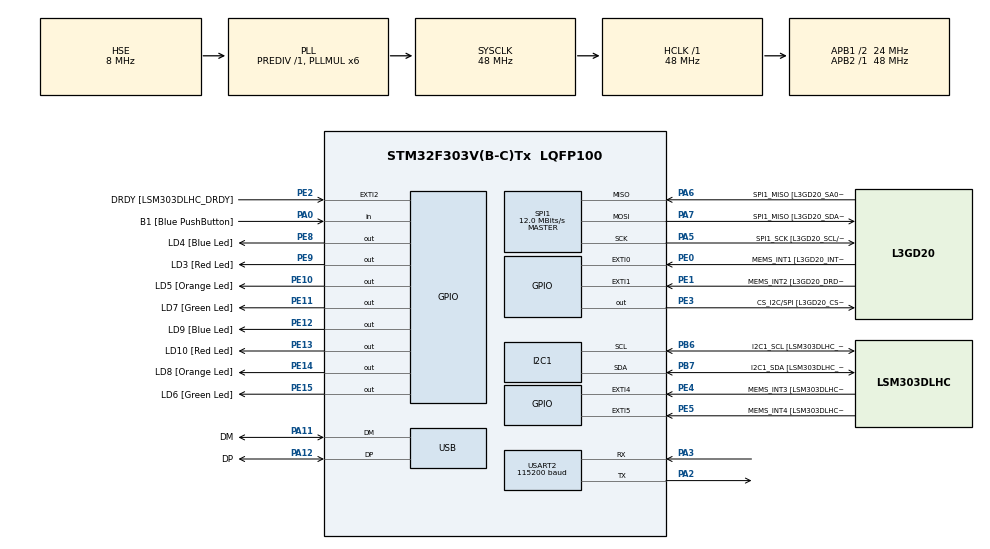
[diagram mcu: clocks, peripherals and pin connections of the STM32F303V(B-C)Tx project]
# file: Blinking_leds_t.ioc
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I2C1.Timing=0x2000090E
I2C1.Timing-I2C=0x2000090E
Mcu.Family=STM32F3
Mcu.Name=STM32F303V(B-C)Tx
Mcu.Package=LQFP100
NVIC.PriorityGroup=NVIC_PRIORITYGROUP_0
NVIC.USART2_IRQn=true\:0\:0\:false\:false\:true\:true\:true\:true
PA0.GPIO_Label=B1 [Blue PushButton]
PA0.Signal=GPIO_Input
PA11.GPIO_Label=DM
PA11.Mode=Device
PA11.Signal=USB_DM
PA12.GPIO_Label=DP
PA12.Mode=Device
PA12.Signal=USB_DP
PA13.GPIO_Label=SWDIO
PA13.Mode=Serial_Wire
PA13.Signal=SYS_JTMS-SWDIO
PA14.GPIO_Label=SWCLK
PA14.Mode=Serial_Wire
PA14.Signal=SYS_JTCK-SWCLK
PA2.Mode=Asynchronous
PA2.Signal=USART2_TX
PA3.Mode=Asynchronous
PA3.Signal=USART2_RX
PA5.GPIO_Label=SPI1_SCK [L3GD20_SCL/SPC]
PA5.Mode=Full_Duplex_Master
PA5.Signal=SPI1_SCK
PA6.GPIO_Label=SPI1_MISO [L3GD20_SA0/SDO]
PA6.Mode=Full_Duplex_Master
PA6.Signal=SPI1_MISO
PA7.GPIO_Label=SPI1_MISO [L3GD20_SDA/SDI/SDO]
PA7.Mode=Full_Duplex_Master
PA7.Signal=SPI1_MOSI
PB3.GPIO_Label=SWO
PB3.Signal=SYS_JTDO-TRACESWO
PB6.GPIO_Label=I2C1_SCL [LSM303DLHC_SCL]
PB6.GPIO_Pu=GPIO_PULLUP
PB6.Mode=I2C
PB6.Signal=I2C1_SCL
PB7.GPIO_Label=I2C1_SDA [LSM303DLHC_SDA]
PB7.GPIO_Pu=GPIO_PULLUP
PB7.Mode=I2C
PB7.Signal=I2C1_SDA
PC14-OSC32_IN.GPIO_Label=OSC32_IN
PC14-OSC32_IN.Signal=RCC_OSC32_IN
PC15-OSC32_OUT.GPIO_Label=OSC32_OUT
PC15-OSC32_OUT.Signal=RCC_OSC32_OUT
PE0.GPIO_Label=MEMS_INT1 [L3GD20_INT1]
PE0.GPIO_ModeDefaultEXTI=GPIO_MODE_EVT_RISING
PE0.Signal=GPXTI0
PE1.GPIO_Label=MEMS_INT2 [L3GD20_DRDY/INT2]
PE1.GPIO_ModeDefaultEXTI=GPIO_MODE_EVT_RISING
PE1.Signal=GPXTI1
PE10.GPIO_Label=LD5 [Orange Led]
PE10.Signal=GPIO_Output
PE11.GPIO_Label=LD7 [Green Led]
PE11.Signal=GPIO_Output
PE12.GPIO_Label=LD9 [Blue Led]
PE12.Signal=GPIO_Output
PE13.GPIO_Label=LD10 [Red Led]
PE13.Signal=GPIO_Output
PE14.GPIO_Label=LD8 [Orange Led]
PE14.Signal=GPIO_Output
PE15.GPIO_Label=LD6 [Green Led]
PE15.Signal=GPIO_Output
PE2.GPIO_Label=DRDY [LSM303DLHC_DRDY]
PE2.GPIO_ModeDefaultEXTI=GPIO_MODE_EVT_RISING
PE2.Signal=GPXTI2
PE3.GPIO_Label=CS_I2C/SPI [L3GD20_CS_I2C/SPI]
PE3.Signal=GPIO_Output
PE4.GPIO_Label=MEMS_INT3 [LSM303DLHC_INT1]
PE4.GPIO_ModeDefaultEXTI=GPIO_MODE_EVT_RISING
PE4.Signal=GPXTI4
PE5.GPIO_Label=MEMS_INT4 [LSM303DLHC_INT2]
PE5.GPIO_ModeDefaultEXTI=GPIO_MODE_EVT_RISING
PE5.Signal=GPXTI5
PE8.GPIO_Label=LD4 [Blue Led]
PE8.Signal=GPIO_Output
PE9.GPIO_Label=LD3 [Red Led]
PE9.Signal=GPIO_Output
PF0-OSC_IN.GPIO_Label=OSC_IN
PF0-OSC_IN.Mode=HSE-External-Clock-Source
PF0-OSC_IN.Signal=RCC_OSC_IN
PF1-OSC_OUT.GPIO_Label=OSC_OUT
PF1-OSC_OUT.Signal=RCC_OSC_OUT
ProjectManager.HeapSize=0x200
ProjectManager.StackSize=0x400
ProjectManager.TargetToolchain=STM32CubeIDE
RCC.AHBFreq_Value=48000000
RCC.APB1CLKDivider=RCC_HCLK_DIV2
RCC.APB1Freq_Value=24000000
RCC.APB1TimFreq_Value=48000000
RCC.APB2Freq_Value=48000000
RCC.APB2TimFreq_Value=48000000
RCC.CortexFreq_Value=48000000
RCC.HCLKFreq_Value=48000000
RCC.HSE_VALUE=8000000
RCC.HSI_VALUE=8000000
RCC.LSE_VALUE=32768
RCC.PLLMUL=RCC_PLL_MUL6
RCC.SYSCLKFreq_VALUE=48000000
RCC.SYSCLKSourceVirtual=RCC_SYSCLKSOURCE_PLLCLK
RCC.USBFreq_Value=48000000
SPI1.BaudRatePrescaler=SPI_BAUDRATEPRESCALER_4
SPI1.BaudRatePrescaler-Full_Duplex_Master=SPI_BAUDRATEPRESCALER_2
SPI1.CalculateBaudRate=12.0 MBits/s
SPI1.CalculateBaudRate-Full_Duplex_Master=24.0 MBits/s
SPI1.Direction=SPI_DIRECTION_2LINES
SPI1.Mode=SPI_MODE_MASTER
SPI1.Mode-Full_Duplex_Master=SPI_MODE_MASTER
SPI1.VirtualType=VM_MASTER
USART2.BaudRate=115200
USART2.VirtualMode-Asynchronous=VM_ASYNC
board=STM32F3DISCOVERY

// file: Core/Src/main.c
/* USER CODE BEGIN Header */
/**
  ******************************************************************************
  * @file           : main.c
  * @brief          : Main program body
  ******************************************************************************
  * @attention
  *
  * Copyright (c) 2025 STMicroelectronics.
  * All rights reserved.
  *
  * This software is licensed under terms that can be found in the LICENSE file
  * in the root directory of this software component.
  * If no LICENSE file comes with this software, it is provided AS-IS.
  *
  ******************************************************************************
  */
/* USER CODE END Header */
#include "main.h"

#include <string.h>

I2C_HandleTypeDef hi2c1;

SPI_HandleTypeDef hspi1;

UART_HandleTypeDef huart2;

PCD_HandleTypeDef hpcd_USB_FS;

void SystemClock_Config(void);
static void MX_GPIO_Init(void);
static void MX_I2C1_Init(void);
static void MX_SPI1_Init(void);
static void MX_USB_PCD_Init(void);
static void MX_USART2_UART_Init(void);

/* USER CODE BEGIN 0 */

static const uint16_t LED_PINS[8] = {

		  GPIO_PIN_9, // LD3 red
		  GPIO_PIN_10, // LD5 orange
		  GPIO_PIN_11, // LD7 green
		  GPIO_PIN_12, // LD9 blue
		  GPIO_PIN_13, // LD10 red
		  GPIO_PIN_14, // LD8 orange
		  GPIO_PIN_15, // LD6 green
		  GPIO_PIN_8, // LD4 blue
};

void debug_print(const char* s){
	HAL_UART_Transmit(&huart2, (uint8_t*)s, strlen(s), HAL_MAX_DELAY);
}

void debug_println(const char* s){
	debug_print(s);
	debug_print("\r\n");
}

static void uart2_println(const char* s){
	HAL_UART_Transmit(&huart2, (uint8_t*)s, strlen(s), HAL_MAX_DELAY);
	uint8_t nl[2] = {'\r', '\n'};
	HAL_UART_Transmit(&huart2, nl, 2, HAL_MAX_DELAY);
}

/* USER CODE END 0 */

/**
  * Simple UART command demo
  *
  * - Uses USART (PA2/PA3) to receive / transmit bytes from / to ESP32
  * - When it receives '1', it toggles an on-board LED
  * - Sends debug messages
  *
  */
int main(void)
{

  /* MCU Configuration--------------------------------------------------------*/

  /* Reset of all peripherals, Initializes the Flash interface and the Systick. */
  HAL_Init();

  /* Configure the system clock */
  SystemClock_Config();

  /* Initialize all configured peripherals */
  MX_GPIO_Init();
  MX_I2C1_Init();
  MX_SPI1_Init();
  MX_USB_PCD_Init();
  MX_USART2_UART_Init();

  HAL_Delay(5000);

  debug_println("STM32 started");
  debug_println("Waiting for UART commands on UART2 ...");

  uint8_t rx;

  /* Infinite loop */
  while (1)
  {
	  // get one byte over usart2 from esp32
	  // wait up to 10 ms for 1 byte on USART2
	  if(HAL_UART_Receive(&huart2, &rx, 1, 10) == HAL_OK){
		  if(rx == '1'){
			  HAL_GPIO_TogglePin(GPIOE, LED_PINS[3]);
			  debug_println("Got '1' -> LED toggled");
			  uart2_println("STM32: LED toggled");
//			  const char msg[] = "STM32: LED toggled\r\n";
//			  HAL_UART_Transmit(&huart2, (uint8_t*)msg, sizeof(msg) - 1, HAL_MAX_DELAY);
//
		  }
		  else {
			  debug_print("Got byte: ");
			  debug_print(rx);
			  debug_println("");

		  }
	  }
  }

}

void SystemClock_Config(void)
{
  RCC_OscInitTypeDef RCC_OscInitStruct = {0};
  RCC_ClkInitTypeDef RCC_ClkInitStruct = {0};
  RCC_PeriphCLKInitTypeDef PeriphClkInit = {0};

  /** Initializes the RCC Oscillators according to the specified parameters
  * in the RCC_OscInitTypeDef structure.
  */
  RCC_OscInitStruct.OscillatorType = RCC_OSCILLATORTYPE_HSI|RCC_OSCILLATORTYPE_HSE;
  RCC_OscInitStruct.HSEState = RCC_HSE_BYPASS;
  RCC_OscInitStruct.HSEPredivValue = RCC_HSE_PREDIV_DIV1;
  RCC_OscInitStruct.HSIState = RCC_HSI_ON;
  RCC_OscInitStruct.HSICalibrationValue = RCC_HSICALIBRATION_DEFAULT;
  RCC_OscInitStruct.PLL.PLLState = RCC_PLL_ON;
  RCC_OscInitStruct.PLL.PLLSource = RCC_PLLSOURCE_HSE;
  RCC_OscInitStruct.PLL.PLLMUL = RCC_PLL_MUL6;
  if (HAL_RCC_OscConfig(&RCC_OscInitStruct) != HAL_OK)
  {
    Error_Handler();
  }

  /** Initializes the CPU, AHB and APB buses clocks
  */
  RCC_ClkInitStruct.ClockType = RCC_CLOCKTYPE_HCLK|RCC_CLOCKTYPE_SYSCLK
                              |RCC_CLOCKTYPE_PCLK1|RCC_CLOCKTYPE_PCLK2;
  RCC_ClkInitStruct.SYSCLKSource = RCC_SYSCLKSOURCE_PLLCLK;
  RCC_ClkInitStruct.AHBCLKDivider = RCC_SYSCLK_DIV1;
  RCC_ClkInitStruct.APB1CLKDivider = RCC_HCLK_DIV2;
  RCC_ClkInitStruct.APB2CLKDivider = RCC_HCLK_DIV1;

  if (HAL_RCC_ClockConfig(&RCC_ClkInitStruct, FLASH_LATENCY_1) != HAL_OK)
  {
    Error_Handler();
  }
  PeriphClkInit.PeriphClockSelection = RCC_PERIPHCLK_USB|RCC_PERIPHCLK_USART2
                              |RCC_PERIPHCLK_I2C1;
  PeriphClkInit.Usart2ClockSelection = RCC_USART2CLKSOURCE_PCLK1;
  PeriphClkInit.I2c1ClockSelection = RCC_I2C1CLKSOURCE_HSI;
  PeriphClkInit.USBClockSelection = RCC_USBCLKSOURCE_PLL;
  if (HAL_RCCEx_PeriphCLKConfig(&PeriphClkInit) != HAL_OK)
  {
    Error_Handler();
  }
}

static void MX_I2C1_Init(void)
{

  hi2c1.Instance = I2C1;
  hi2c1.Init.Timing = 0x2000090E;
  hi2c1.Init.OwnAddress1 = 0;
  hi2c1.Init.AddressingMode = I2C_ADDRESSINGMODE_7BIT;
  hi2c1.Init.DualAddressMode = I2C_DUALADDRESS_DISABLE;
  hi2c1.Init.OwnAddress2 = 0;
  hi2c1.Init.OwnAddress2Masks = I2C_OA2_NOMASK;
  hi2c1.Init.GeneralCallMode = I2C_GENERALCALL_DISABLE;
  hi2c1.Init.NoStretchMode = I2C_NOSTRETCH_DISABLE;
  if (HAL_I2C_Init(&hi2c1) != HAL_OK)
  {
    Error_Handler();
  }

  /** Configure Analogue filter
  */
  if (HAL_I2CEx_ConfigAnalogFilter(&hi2c1, I2C_ANALOGFILTER_ENABLE) != HAL_OK)
  {
    Error_Handler();
  }

  /** Configure Digital filter
  */
  if (HAL_I2CEx_ConfigDigitalFilter(&hi2c1, 0) != HAL_OK)
  {
    Error_Handler();
  }

}

static void MX_SPI1_Init(void)
{

  /* SPI1 parameter configuration*/
  hspi1.Instance = SPI1;
  hspi1.Init.Mode = SPI_MODE_MASTER;
  hspi1.Init.Direction = SPI_DIRECTION_2LINES;
  hspi1.Init.DataSize = SPI_DATASIZE_4BIT;
  hspi1.Init.CLKPolarity = SPI_POLARITY_LOW;
  hspi1.Init.CLKPhase = SPI_PHASE_1EDGE;
  hspi1.Init.NSS = SPI_NSS_SOFT;
  hspi1.Init.BaudRatePrescaler = SPI_BAUDRATEPRESCALER_4;
  hspi1.Init.FirstBit = SPI_FIRSTBIT_MSB;
  hspi1.Init.TIMode = SPI_TIMODE_DISABLE;
  hspi1.Init.CRCCalculation = SPI_CRCCALCULATION_DISABLE;
  hspi1.Init.CRCPolynomial = 7;
  hspi1.Init.CRCLength = SPI_CRC_LENGTH_DATASIZE;
  hspi1.Init.NSSPMode = SPI_NSS_PULSE_ENABLE;
  if (HAL_SPI_Init(&hspi1) != HAL_OK)
  {
    Error_Handler();
  }

}

static void MX_USART2_UART_Init(void)
{

  huart2.Instance = USART2;
  huart2.Init.BaudRate = 115200;
  huart2.Init.WordLength = UART_WORDLENGTH_8B;
  huart2.Init.StopBits = UART_STOPBITS_1;
  huart2.Init.Parity = UART_PARITY_NONE;
  huart2.Init.Mode = UART_MODE_TX_RX;
  huart2.Init.HwFlowCtl = UART_HWCONTROL_NONE;
  huart2.Init.OverSampling = UART_OVERSAMPLING_16;
  huart2.Init.OneBitSampling = UART_ONE_BIT_SAMPLE_DISABLE;
  huart2.AdvancedInit.AdvFeatureInit = UART_ADVFEATURE_NO_INIT;
  if (HAL_UART_Init(&huart2) != HAL_OK)
  {
    Error_Handler();
  }

}

static void MX_USB_PCD_Init(void)
{

  hpcd_USB_FS.Instance = USB;
  hpcd_USB_FS.Init.dev_endpoints = 8;
  hpcd_USB_FS.Init.speed = PCD_SPEED_FULL;
  hpcd_USB_FS.Init.phy_itface = PCD_PHY_EMBEDDED;
  hpcd_USB_FS.Init.low_power_enable = DISABLE;
  hpcd_USB_FS.Init.battery_charging_enable = DISABLE;
  if (HAL_PCD_Init(&hpcd_USB_FS) != HAL_OK)
  {
    Error_Handler();
  }

}

static void MX_GPIO_Init(void)
{
  GPIO_InitTypeDef GPIO_InitStruct = {0};

  /* GPIO Ports Clock Enable */
  __HAL_RCC_GPIOE_CLK_ENABLE();
  __HAL_RCC_GPIOC_CLK_ENABLE();
  __HAL_RCC_GPIOF_CLK_ENABLE();
  __HAL_RCC_GPIOA_CLK_ENABLE();
  __HAL_RCC_GPIOB_CLK_ENABLE();

  /*Configure GPIO pin Output Level */
  HAL_GPIO_WritePin(GPIOE, CS_I2C_SPI_Pin|LD4_Pin|LD3_Pin|LD5_Pin
                          |LD7_Pin|LD9_Pin|LD10_Pin|LD8_Pin
                          |LD6_Pin, GPIO_PIN_RESET);

  /*Configure GPIO pins : DRDY_Pin MEMS_INT3_Pin MEMS_INT4_Pin MEMS_INT1_Pin
                           MEMS_INT2_Pin */
  GPIO_InitStruct.Pin = DRDY_Pin|MEMS_INT3_Pin|MEMS_INT4_Pin|MEMS_INT1_Pin
                          |MEMS_INT2_Pin;
  GPIO_InitStruct.Mode = GPIO_MODE_EVT_RISING;
  GPIO_InitStruct.Pull = GPIO_NOPULL;
  HAL_GPIO_Init(GPIOE, &GPIO_InitStruct);

  /*Configure GPIO pins : CS_I2C_SPI_Pin LD4_Pin LD3_Pin LD5_Pin
                           LD7_Pin LD9_Pin LD10_Pin LD8_Pin
                           LD6_Pin */
  GPIO_InitStruct.Pin = CS_I2C_SPI_Pin|LD4_Pin|LD3_Pin|LD5_Pin
                          |LD7_Pin|LD9_Pin|LD10_Pin|LD8_Pin
                          |LD6_Pin;
  GPIO_InitStruct.Mode = GPIO_MODE_OUTPUT_PP;
  GPIO_InitStruct.Pull = GPIO_NOPULL;
  GPIO_InitStruct.Speed = GPIO_SPEED_FREQ_LOW;
  HAL_GPIO_Init(GPIOE, &GPIO_InitStruct);

  /*Configure GPIO pin : B1_Pin */
  GPIO_InitStruct.Pin = B1_Pin;
  GPIO_InitStruct.Mode = GPIO_MODE_INPUT;
  GPIO_InitStruct.Pull = GPIO_NOPULL;
  HAL_GPIO_Init(B1_GPIO_Port, &GPIO_InitStruct);

}

void Error_Handler(void)
{
  __disable_irq();
  while (1)
  {
  }
}
